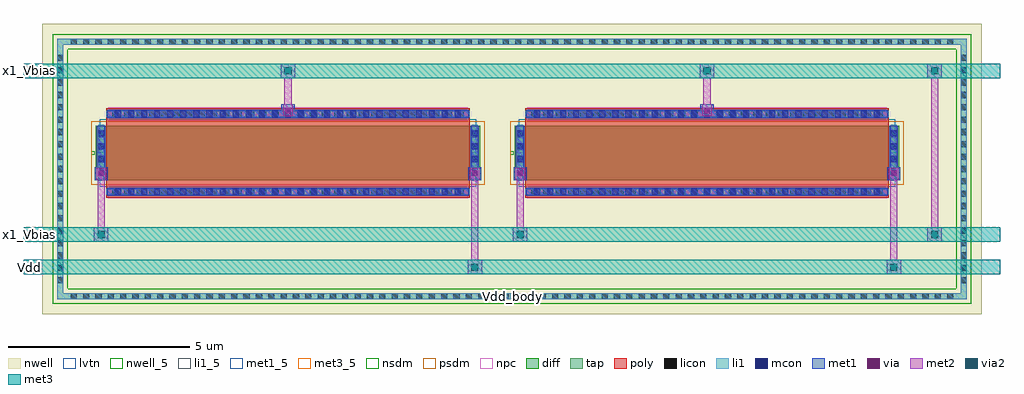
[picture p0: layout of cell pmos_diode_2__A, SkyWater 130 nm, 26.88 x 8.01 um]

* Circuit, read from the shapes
.subckt pmos_diode_2__A Vdd Vdd_body x1_Vbias
XM1 Vdd x1_Vbias x1_Vbias Vdd_body sky130_fd_pr__pfet_01v8_lvt w=1.5 l=10 m=2
.ends

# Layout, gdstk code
import gdstk
lib = gdstk.Library(unit=1e-6, precision=1e-09)
def R(c, l, rs):  # rectangles x0, y0, x1, y1
    for r in rs: c.add(gdstk.rectangle(r[:2], r[2:], *l))
def A(c, l, x, y, w, h, nx, ny, dx, dy):  # array of equal rectangles
    R(c, l, [(x+i*dx, y+j*dy, x+i*dx+w, y+j*dy+h) for i in range(nx) for j in range(ny)])
nwell_5 = (64, 5)
nwell = (64, 20)
diff = (65, 20)
tap = (65, 44)
poly = (66, 20)
licon = (66, 44)
li1_5 = (67, 5)
li1 = (67, 20)
mcon = (67, 44)
met1_5 = (68, 5)
met1 = (68, 20)
via = (68, 44)
met2 = (69, 20)
via2 = (69, 44)
met3_5 = (70, 5)
met3 = (70, 20)
nsdm = (93, 44)
psdm = (94, 20)
npc = (95, 20)
lvtn = (125, 44)

sky130_fd_pr__pfet_01v8_ = lib.new_cell('sky130_fd_pr__pfet_01v8_lvt_BJW7CL')
R(sky130_fd_pr__pfet_01v8_, nwell, [(-5.47,-1.25,5.47,1.25)])
R(sky130_fd_pr__pfet_01v8_, diff, [(-5.29,-0.75,5.29,0.75)])
R(sky130_fd_pr__pfet_01v8_, poly, [(-5,-1.235,5,1.235)])
A(sky130_fd_pr__pfet_01v8_, licon, -4.845, -1.155, 0.17, 0.17, 29, 2, 0.34, 2.14)
A(sky130_fd_pr__pfet_01v8_, licon, -5.23, -0.595, 0.17, 0.17, 1, 4, 0, 0.34)
A(sky130_fd_pr__pfet_01v8_, licon, 5.06, -0.595, 0.17, 0.17, 1, 4, 0, 0.34)
R(sky130_fd_pr__pfet_01v8_, li1, [(-5,-1.155,5,-0.985), (-5.23,-0.77,-5.06,0.77), (5.06,-0.77,5.23,0.77), (-5,0.985,5,1.155)])
A(sky130_fd_pr__pfet_01v8_, mcon, -4.765, -1.155, 0.17, 0.17, 27, 2, 0.36, 2.14)
A(sky130_fd_pr__pfet_01v8_, mcon, -5.23, -0.625, 0.17, 0.17, 1, 4, 0, 0.36)
A(sky130_fd_pr__pfet_01v8_, mcon, 5.06, -0.625, 0.17, 0.17, 1, 4, 0, 0.36)
R(sky130_fd_pr__pfet_01v8_, met1, [(-4.98,-1.185,4.98,-0.955), (-5.26,-0.75,-5.03,0.75), (5.03,-0.75,5.26,0.75), (-4.98,0.955,4.98,1.185)])
R(sky130_fd_pr__pfet_01v8_, psdm, [(-5.415,-0.875,5.415,0.875)])
R(sky130_fd_pr__pfet_01v8_, npc, [(-4.945,-1.255,4.945,-0.885), (-4.945,0.885,4.945,1.255)])
R(sky130_fd_pr__pfet_01v8_, lvtn, [(-5.18,-0.93,5.18,0.93)])
sky130_fd_pr__pfet_01v8_.add(gdstk.Label('D', (-5.145,0), layer=67, texttype=5))
sky130_fd_pr__pfet_01v8_.add(gdstk.Label('S', (5.145,0), layer=67, texttype=5))
sky130_fd_pr__pfet_01v8_.add(gdstk.Label('G', (0,1.07), layer=67, texttype=5))

pfet_01v8_lvt_w1p5_l10_m = lib.new_cell('pfet_01v8_lvt_W1p5_L10_m2__nf1_gboth_sdfull_ng')
R(pfet_01v8_lvt_w1p5_l10_m, nwell_5, [(0.05,1.2,0.15,1.3)])
R(pfet_01v8_lvt_w1p5_l10_m, nwell, [(0.05,1.2,0.15,1.3)])
R(pfet_01v8_lvt_w1p5_l10_m, met1_5, [(0.21,1.25,0.44,1.45), (10.5,1.25,10.73,1.45), (0.49,2.205,10.45,2.435)])
R(pfet_01v8_lvt_w1p5_l10_m, met1, [(0.21,1.25,0.44,1.45), (10.5,1.25,10.73,1.45), (0.49,2.205,10.45,2.435)])
pfet_01v8_lvt_w1p5_l10_m.add(gdstk.Reference(sky130_fd_pr__pfet_01v8_, (5.47,1.25)))
pfet_01v8_lvt_w1p5_l10_m.add(gdstk.Label('D', (0.325,1.35), layer=68, texttype=5))
pfet_01v8_lvt_w1p5_l10_m.add(gdstk.Label('S', (10.615,1.35), layer=68, texttype=5))
pfet_01v8_lvt_w1p5_l10_m.add(gdstk.Label('G', (5.47,2.32), layer=68, texttype=5))
pfet_01v8_lvt_w1p5_l10_m.add(gdstk.Label('B', (0.1,1.25), layer=64, texttype=5))

pmos_diode_2__a = lib.new_cell('pmos_diode_2__A')
R(pmos_diode_2__a, nwell, [(-1.3,-3.2,24.58,4.81)])
R(pmos_diode_2__a, tap, [(-0.885,-2.785,24.165,-2.615), (-0.885,-2.615,-0.715,4.225), (23.995,-2.615,24.165,4.225), (-0.885,4.225,24.165,4.395)])
A(pmos_diode_2__a, licon, -0.515, -2.785, 0.17, 0.17, 72, 2, 0.34, 7.01)
A(pmos_diode_2__a, licon, -0.885, -2.34, 0.17, 0.17, 1, 19, 0, 0.34)
A(pmos_diode_2__a, licon, 23.995, -2.34, 0.17, 0.17, 1, 19, 0, 0.34)
R(pmos_diode_2__a, li1_5, [(11.59,-2.75,11.69,-2.65)])
R(pmos_diode_2__a, li1, [(-0.885,-2.785,24.165,-2.615), (-0.885,-2.615,-0.715,4.225), (23.995,-2.615,24.165,4.225), (-0.885,4.225,24.165,4.395)])
R(pmos_diode_2__a, met1, [(0.145,0.5,0.505,0.86), (10.435,0.5,10.795,0.86), (11.685,0.5,12.045,0.86), (21.975,0.5,22.335,0.86), (5.29,2.235,5.65,2.595), (16.83,2.235,17.19,2.595)])
R(pmos_diode_2__a, via, [(0.25,0.605,0.4,0.755), (10.54,0.605,10.69,0.755), (11.79,0.605,11.94,0.755), (22.08,0.605,22.23,0.755), (5.395,2.34,5.545,2.49), (16.935,2.34,17.085,2.49)])
R(pmos_diode_2__a, met2, [(10.415,-2.1,10.815,-1.7), (21.955,-2.1,22.355,-1.7), (10.515,-1.7,10.715,0.52), (22.055,-1.7,22.255,0.52), (0.125,-1.2,0.525,-0.8), (11.665,-1.2,12.065,-0.8), (23.08,-1.2,23.48,-0.8), (0.225,-0.8,0.425,0.52), (11.765,-0.8,11.965,0.52), (23.18,-0.8,23.38,3.31), (0.195,0.52,0.455,0.84), (10.485,0.52,10.745,0.84), (11.735,0.52,11.995,0.84), (22.025,0.52,22.285,0.84), (5.34,2.255,5.6,2.575), (16.88,2.255,17.14,2.575), (5.37,2.575,5.57,3.31), (16.91,2.575,17.11,3.31), (5.27,3.31,5.67,3.71), (16.81,3.31,17.21,3.71), (23.08,3.31,23.48,3.71)])
R(pmos_diode_2__a, via2, [(10.515,-2,10.715,-1.8), (22.055,-2,22.255,-1.8), (0.225,-1.1,0.425,-0.9), (11.765,-1.1,11.965,-0.9), (23.18,-1.1,23.38,-0.9), (5.37,3.41,5.57,3.61), (16.91,3.41,17.11,3.61), (23.18,3.41,23.38,3.61)])
R(pmos_diode_2__a, met3_5, [(-1.7,-1.95,-1.6,-1.85), (-1.7,-1.05,-1.6,-0.95), (-1.7,3.46,-1.6,3.56)])
R(pmos_diode_2__a, met3, [(-1.8,-2.1,25.08,-1.7), (-1.8,-1.2,25.08,-0.8), (-1.8,3.31,25.08,3.71)])
R(pmos_diode_2__a, nsdm, [(-1.01,-2.91,24.29,-2.49), (-1.01,-2.49,-0.59,4.1), (23.87,-2.49,24.29,4.1), (-1.01,4.1,24.29,4.52)])
pmos_diode_2__a.add(gdstk.Reference(pfet_01v8_lvt_w1p5_l10_m, (11.54,0)))
pmos_diode_2__a.add(gdstk.Reference(pfet_01v8_lvt_w1p5_l10_m, (0,0)))
pmos_diode_2__a.add(gdstk.Label('x1_Vbias', (-1.65,3.51), layer=70, texttype=5))
pmos_diode_2__a.add(gdstk.Label('x1_Vbias', (-1.65,-1), layer=70, texttype=5))
pmos_diode_2__a.add(gdstk.Label('Vdd', (-1.65,-1.9), layer=70, texttype=5))
pmos_diode_2__a.add(gdstk.Label('Vdd_body', (11.64,-2.7), layer=67, texttype=5))

lib.write_gds('pmos_diode_2__A.gds')
